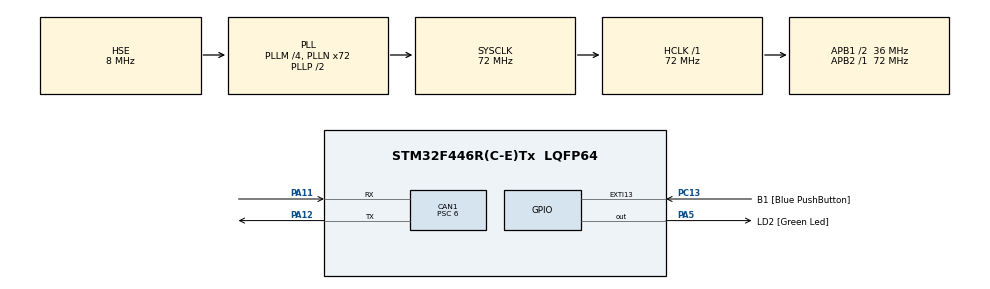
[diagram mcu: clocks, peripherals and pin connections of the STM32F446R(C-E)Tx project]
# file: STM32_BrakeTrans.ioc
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CAN1.ABOM=ENABLE
CAN1.BS1=CAN_BS1_9TQ
CAN1.BS2=CAN_BS2_2TQ
CAN1.CalculateBaudRate=499999
CAN1.CalculateTimeBit=2000
CAN1.CalculateTimeQuantum=166.66666666666669
CAN1.Mode=CAN_MODE_NORMAL
CAN1.NART=ENABLE
CAN1.Prescaler=6
CAN1.SJW=CAN_SJW_1TQ
Mcu.Family=STM32F4
Mcu.Name=STM32F446R(C-E)Tx
Mcu.Package=LQFP64
NVIC.CAN1_RX0_IRQn=true\:0\:0\:false\:false\:true\:true\:true\:true
NVIC.CAN1_RX1_IRQn=true\:0\:0\:false\:false\:true\:true\:true\:true
NVIC.PriorityGroup=NVIC_PRIORITYGROUP_0
PA11.GPIO_Speed=GPIO_SPEED_FREQ_MEDIUM
PA11.Mode=CAN_Activate
PA11.Signal=CAN1_RX
PA12.GPIO_Speed=GPIO_SPEED_FREQ_MEDIUM
PA12.Mode=CAN_Activate
PA12.Signal=CAN1_TX
PA13.GPIO_Label=TMS
PA13.Mode=Serial_Wire
PA13.Signal=SYS_JTMS-SWDIO
PA14.GPIO_Label=TCK
PA14.Mode=Serial_Wire
PA14.Signal=SYS_JTCK-SWCLK
PA2.GPIO_Label=USART_TX
PA2.Signal=USART2_TX
PA3.GPIO_Label=USART_RX
PA3.Signal=USART2_RX
PA5.GPIO_Label=LD2 [Green Led]
PA5.Signal=GPIO_Output
PB3.GPIO_Label=SWO
PB3.Signal=SYS_JTDO-SWO
PC13.GPIO_Label=B1 [Blue PushButton]
PC13.GPIO_ModeDefaultEXTI=GPIO_MODE_IT_FALLING
PC13.Signal=GPXTI13
PC14-OSC32_IN.Signal=RCC_OSC32_IN
PC15-OSC32_OUT.Signal=RCC_OSC32_OUT
PH0-OSC_IN.Mode=HSE-External-Oscillator
PH0-OSC_IN.Signal=RCC_OSC_IN
PH1-OSC_OUT.Mode=HSE-External-Oscillator
PH1-OSC_OUT.Signal=RCC_OSC_OUT
ProjectManager.HeapSize=0x200
ProjectManager.StackSize=0x400
ProjectManager.TargetToolchain=STM32CubeIDE
RCC.48MHZClocksFreq_Value=84000000
RCC.AHBFreq_Value=72000000
RCC.APB1CLKDivider=RCC_HCLK_DIV2
RCC.APB1Freq_Value=36000000
RCC.APB1TimFreq_Value=72000000
RCC.APB2Freq_Value=72000000
RCC.APB2TimFreq_Value=72000000
RCC.CortexFreq_Value=72000000
RCC.FLatency-AdvancedSettings=FLASH_LATENCY_2
RCC.HCLKFreq_Value=72000000
RCC.HSE_VALUE=8000000
RCC.HSI_VALUE=16000000
RCC.PLLM=4
RCC.PLLN=72
RCC.PLLSourceVirtual=RCC_PLLSOURCE_HSE
RCC.SYSCLKFreq_VALUE=72000000
RCC.SYSCLKSource=RCC_SYSCLKSOURCE_PLLCLK
RCC.USBFreq_Value=72000000
RCC.VCOOutputFreq_Value=144000000
board=NUCLEO-F446RE

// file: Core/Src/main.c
/* USER CODE BEGIN Header */
/**
  ******************************************************************************
  * @file           : main.c
  * @brief          : Main program body
  ******************************************************************************
  * @attention
  *
  * Copyright (c) 2025 STMicroelectronics.
  * All rights reserved.
  *
  * This software is licensed under terms that can be found in the LICENSE file
  * in the root directory of this software component.
  * If no LICENSE file comes with this software, it is provided AS-IS.
  *
  ******************************************************************************
  */
/* USER CODE END Header */
#include "main.h"

/* USER CODE BEGIN PD */
#define STM32_FAMILY_ID 0xF4					/* For STM32F4 Devices */
#define BOARD_ID		0x0						/* BOARD_ID: from 0 to 7: Device if two boards using STM32F4 need to select another value (1 to 7) */

#define TX_ID ((BOARD_ID<<8) | STM32_FAMILY_ID)	/* TX ID to send is a format of 0xXF4, where X is the baord ID */
/* USER CODE END PD */

CAN_HandleTypeDef hcan1;

/* USER CODE BEGIN PV */
uint32_t			TxMailbox;			/* The number of the mail box that trasmitted the Tx message */
CAN_TxHeaderTypeDef	TxHeader;
uint8_t				TxData[8] = {0};
CAN_RxHeaderTypeDef	RxHeaderFIFO0;		/* Header containing information of the received frame */
CAN_RxHeaderTypeDef RxHeaderFIFO1;
uint8_t				RxDataFIFO0[8];		/* Buffer of the received data */
uint8_t				RxDataFIFO1[8];
__IO uint32_t         rx_f0_std = 0;   /* Contains the number of standard frames received from a STM32F0 MCU */
__IO uint32_t         rx_f0_ext = 0;   /* Contains the number of extended frames received from a STM32F0 MCU */
__IO uint32_t         rx_f1_std = 0;   /* Contains the number of standard frames received from a STM32F1 MCU */
__IO uint32_t         rx_f1_ext = 0;   /* Contains the number of extended frames received from a STM32F1 MCU */
__IO uint32_t         rx_f2_std = 0;   /* Contains the number of standard frames received from a STM32F2 MCU */
__IO uint32_t         rx_f2_ext = 0;   /* Contains the number of extended frames received from a STM32F2 MCU */
__IO uint32_t         rx_f3_std = 0;   /* Contains the number of standard frames received from a STM32F3 MCU */
__IO uint32_t         rx_f3_ext = 0;   /* Contains the number of extended frames received from a STM32F3 MCU */
__IO uint32_t         rx_f7_std = 0;   /* Contains the number of standard frames received from a STM32F7 MCU */
__IO uint32_t         rx_f7_ext = 0;   /* Contains the number of extended frames received from a STM32F7 MCU */

BrakeTransTypeDef BrakeTrans;
/* @ Example code if there are two brakes
 * BrakeTransTypeDef FrontBrake;
 * BrakeTransTypeDef BackBrake;
 */
/* USER CODE END PV */

void SystemClock_Config(void);
static void MX_GPIO_Init(void);
static void MX_CAN1_Init(void);

int main(void)
{

  /* MCU Configuration--------------------------------------------------------*/

  /* Reset of all peripherals, Initializes the Flash interface and the Systick. */
  HAL_Init();

  /* Configure the system clock */
  SystemClock_Config();

  /* Initialize all configured peripherals */
  MX_GPIO_Init();
  MX_CAN1_Init();
  /* USER CODE BEGIN 2 */
  TxHeader.StdId = TX_ID;				/* The ID value in Standard ID format (11bit) */
  TxHeader.ExtId = TX_ID | 0x10000000;	/* The ID value in Extended ID format (29bit) */
  TxHeader.IDE = CAN_ID_STD;
  TxHeader.RTR = CAN_RTR_DATA;			/* The frames that will be sent are Data */
  TxHeader.DLC = 8;						/* The frames will contain 8 bytes */
  TxHeader.TransmitGlobalTime = DISABLE;
  /* Only the first byte (data0) and the last byte (data7) will be changed */
  TxData[0] = 0;
  TxData[7] = 0xFF;
  /* USER CODE END 2 */

  /* Infinite loop */
  /* USER CODE BEGIN WHILE */
  while (1)
  {
	TxData[0] ++;
	TxData[7] ++;

	/* Mandatory to look for a free Tx mail box */
	while(HAL_CAN_GetTxMailboxesFreeLevel(&hcan1) == 0) {} /* Waiting until a mailbox is free using while loop */

	if (HAL_CAN_AddTxMessage(&hcan1, &TxHeader, TxData, &TxMailbox) != HAL_OK) /* Send CAN Frame */
	{
		Error_Handler();
	}
	TxHeader.IDE ^= CAN_ID_EXT;
	HAL_Delay(1);
    /* USER CODE END WHILE */

  }
}

void SystemClock_Config(void)
{
  RCC_OscInitTypeDef RCC_OscInitStruct = {0};
  RCC_ClkInitTypeDef RCC_ClkInitStruct = {0};

  /** Configure the main internal regulator output voltage
  */
  __HAL_RCC_PWR_CLK_ENABLE();
  __HAL_PWR_VOLTAGESCALING_CONFIG(PWR_REGULATOR_VOLTAGE_SCALE3);

  /** Initializes the RCC Oscillators according to the specified parameters
  * in the RCC_OscInitTypeDef structure.
  */
  RCC_OscInitStruct.OscillatorType = RCC_OSCILLATORTYPE_HSE;
  RCC_OscInitStruct.HSEState = RCC_HSE_ON;
  RCC_OscInitStruct.PLL.PLLState = RCC_PLL_ON;
  RCC_OscInitStruct.PLL.PLLSource = RCC_PLLSOURCE_HSE;
  RCC_OscInitStruct.PLL.PLLM = 4;
  RCC_OscInitStruct.PLL.PLLN = 72;
  RCC_OscInitStruct.PLL.PLLP = RCC_PLLP_DIV2;
  RCC_OscInitStruct.PLL.PLLQ = 2;
  RCC_OscInitStruct.PLL.PLLR = 2;
  if (HAL_RCC_OscConfig(&RCC_OscInitStruct) != HAL_OK)

  {
    Error_Handler();
  }

  /** Initializes the CPU, AHB and APB buses clocks
  */
  RCC_ClkInitStruct.ClockType = RCC_CLOCKTYPE_HCLK|RCC_CLOCKTYPE_SYSCLK
                              |RCC_CLOCKTYPE_PCLK1|RCC_CLOCKTYPE_PCLK2;
  RCC_ClkInitStruct.SYSCLKSource = RCC_SYSCLKSOURCE_PLLCLK;
  RCC_ClkInitStruct.AHBCLKDivider = RCC_SYSCLK_DIV1;
  RCC_ClkInitStruct.APB1CLKDivider = RCC_HCLK_DIV2;
  RCC_ClkInitStruct.APB2CLKDivider = RCC_HCLK_DIV1;

  if (HAL_RCC_ClockConfig(&RCC_ClkInitStruct, FLASH_LATENCY_2) != HAL_OK)
  {
    Error_Handler();
  }
}

static void MX_CAN1_Init(void)
{

  /* USER CODE BEGIN CAN1_Init 0 */
  CAN_FilterTypeDef	sFilterConfig;
  /* USER CODE END CAN1_Init 0 */

  hcan1.Instance = CAN1;
  hcan1.Init.Prescaler = 6;
  hcan1.Init.Mode = CAN_MODE_NORMAL;
  hcan1.Init.SyncJumpWidth = CAN_SJW_1TQ;
  hcan1.Init.TimeSeg1 = CAN_BS1_9TQ;
  hcan1.Init.TimeSeg2 = CAN_BS2_2TQ;
  hcan1.Init.TimeTriggeredMode = DISABLE;
  hcan1.Init.AutoBusOff = ENABLE;
  hcan1.Init.AutoWakeUp = DISABLE;
  hcan1.Init.AutoRetransmission = ENABLE;
  hcan1.Init.ReceiveFifoLocked = DISABLE;
  hcan1.Init.TransmitFifoPriority = DISABLE;
  if (HAL_CAN_Init(&hcan1) != HAL_OK)
  {
    Error_Handler();
  }
  /* USER CODE BEGIN CAN1_Init 2 */
  /* Filter Configuration */
  sFilterConfig.SlaveStartFilterBank = 14;			/* Start slave bank. Set only once */
  /* CAN Filter Configuration */
  sFilterConfig.FilterBank = 0;							/* Filter Number 0 */
  sFilterConfig.FilterMode = CAN_FILTERMODE_IDMASK;		/* Using ID Mask Mode */
  sFilterConfig.FilterScale = CAN_FILTERSCALE_32BIT;	/* 32bit scale */
  sFilterConfig.FilterIdHigh = 0x0000;
  sFilterConfig.FilterIdLow = 0x0000;					/* Filter set for standard mode only */
  sFilterConfig.FilterMaskIdHigh = 0x0000;				/* Accepts all ids except Extended frames */
  sFilterConfig.FilterMaskIdLow = 0x0004;				/* Filter set to check only on the ID format */
  sFilterConfig.FilterFIFOAssignment = CAN_RX_FIFO0;	/* All messages will be accepted on FIFO0 */
  sFilterConfig.FilterActivation = ENABLE;
  if (HAL_CAN_ConfigFilter(&hcan1, &sFilterConfig) != HAL_OK)
  {
      /* Filter configuration Error */
      Error_Handler();
  }

  sFilterConfig.FilterBank = 1;							/* Filter Number 1 */
  sFilterConfig.FilterMode = CAN_FILTERMODE_IDMASK;		/* Using ID Mask Mode */
  sFilterConfig.FilterScale = CAN_FILTERSCALE_32BIT;	/* 32bit scale */
  sFilterConfig.FilterIdHigh = 0x0000;
  sFilterConfig.FilterIdLow = 0x0004;					/* Filter set for extended mode only */
  sFilterConfig.FilterMaskIdHigh = 0x0000;				/* Accepts all ids except Extended frames */
  sFilterConfig.FilterMaskIdLow = 0x0004;				/* Filter set to check only on the ID format */
  sFilterConfig.FilterFIFOAssignment = CAN_RX_FIFO1;	/* All messages will be accepted on FIFO1 */
  sFilterConfig.FilterActivation = ENABLE;
  if (HAL_CAN_ConfigFilter(&hcan1, &sFilterConfig) != HAL_OK)
  {
      /* Filter configuration Error */
      Error_Handler();
  }
  /* Start CAN peripheral */
  if (HAL_CAN_Start(&hcan1) != HAL_OK)
  {
    Error_Handler();
  }

  /* Activate CAN TX notifcations on FIFO0 and FIFO1 */
  if (HAL_CAN_ActivateNotification(&hcan1, CAN_IT_RX_FIFO0_MSG_PENDING | CAN_IT_RX_FIFO1_MSG_PENDING) != HAL_OK)
  {
	  /* Notification Error */
	  Error_Handler();
  }
  /* USER CODE END CAN1_Init 2 */

}

static void MX_GPIO_Init(void)
{
  GPIO_InitTypeDef GPIO_InitStruct = {0};

  /* GPIO Ports Clock Enable */
  __HAL_RCC_GPIOC_CLK_ENABLE();
  __HAL_RCC_GPIOH_CLK_ENABLE();
  __HAL_RCC_GPIOA_CLK_ENABLE();
  __HAL_RCC_GPIOB_CLK_ENABLE();

  /*Configure GPIO pin Output Level */
  HAL_GPIO_WritePin(LD2_GPIO_Port, LD2_Pin, GPIO_PIN_RESET);

  /*Configure GPIO pin : B1_Pin */
  GPIO_InitStruct.Pin = B1_Pin;
  GPIO_InitStruct.Mode = GPIO_MODE_IT_FALLING;
  GPIO_InitStruct.Pull = GPIO_NOPULL;
  HAL_GPIO_Init(B1_GPIO_Port, &GPIO_InitStruct);

  /*Configure GPIO pins : USART_TX_Pin USART_RX_Pin */
  GPIO_InitStruct.Pin = USART_TX_Pin|USART_RX_Pin;
  GPIO_InitStruct.Mode = GPIO_MODE_AF_PP;
  GPIO_InitStruct.Pull = GPIO_NOPULL;
  GPIO_InitStruct.Speed = GPIO_SPEED_FREQ_VERY_HIGH;
  GPIO_InitStruct.Alternate = GPIO_AF7_USART2;
  HAL_GPIO_Init(GPIOA, &GPIO_InitStruct);

  /*Configure GPIO pin : LD2_Pin */
  GPIO_InitStruct.Pin = LD2_Pin;
  GPIO_InitStruct.Mode = GPIO_MODE_OUTPUT_PP;
  GPIO_InitStruct.Pull = GPIO_NOPULL;
  GPIO_InitStruct.Speed = GPIO_SPEED_FREQ_LOW;
  HAL_GPIO_Init(LD2_GPIO_Port, &GPIO_InitStruct);

}

/* USER CODE BEGIN 4 */
void HAL_CAN_RxFifo0MsgPendingCallback(CAN_HandleTypeDef *CanHandle)
{
	if (HAL_CAN_GetRxMessage(CanHandle, CAN_RX_FIFO0, &RxHeaderFIFO0, RxDataFIFO0) != HAL_OK)
	{
		/* Reception Error */
		Error_Handler();
	}
	else
	{
		/* Toggle LED when message is received */
		HAL_GPIO_TogglePin(LD2_GPIO_Port, LD2_Pin);
	}

	if ((RxHeaderFIFO0.StdId & 0xFF) == 0xF0)
	{
		rx_f0_std++; /* Increment this if a standard CAN frame is received from the NUCLEO-F042 board */
	}
	else if ((RxHeaderFIFO0.StdId & 0xFF) == 0xF1)
	{
		rx_f1_std++; /* Increment this if a standard CAN frame is received from the NUCLEO-F103 board */
	}
	else if ((RxHeaderFIFO0.StdId & 0xFF) == 0xF2)
	{
		rx_f2_std++; /* Increment this if a standard CAN frame is received from the NUCLEO-F207 board */
	}
	else if ((RxHeaderFIFO0.StdId & 0xFF) == 0xF3)
	{
		rx_f3_std++; /* Increment this if a standard CAN frame is received from the NUCLEO-F302 board */
	}
	else if ((RxHeaderFIFO0.StdId & 0xFF) == 0xF7)
	{
		rx_f7_std++; /* Increment this if a standard CAN frame is received from the NUCLEO-F767 board */
	}
}

void HAL_CAN_RxFifo1MsgPendingCallback(CAN_HandleTypeDef *CanHandle)
{
	if (HAL_CAN_GetRxMessage(CanHandle, CAN_RX_FIFO1, &RxHeaderFIFO1, RxDataFIFO1) != HAL_OK)
	{
		/* Reception Error */
		Error_Handler();
	}
	else
	{
		/* Toggle LED when message is received */
		HAL_GPIO_TogglePin(LD2_GPIO_Port, LD2_Pin);
	}

	if ((RxHeaderFIFO1.ExtId & 0xFF) == 0xF0)
	{
		rx_f0_ext++; /* Increment this if a extended CAN frame is received from the NUCLEO-F042 board */
	}
	else if ((RxHeaderFIFO1.ExtId & 0xFF) == 0xF1)
	{
		rx_f1_ext++; /* Increment this if a extended CAN frame is received from the NUCLEO-F103 board */
	}
	else if ((RxHeaderFIFO1.ExtId & 0xFF) == 0xF2)
	{
		rx_f2_ext++; /* Increment this if a extended CAN frame is received from the NUCLEO-F207 board */
	}
	else if ((RxHeaderFIFO1.ExtId & 0xFF) == 0xF3)
	{
		rx_f3_ext++; /* Increment this if a extended CAN frame is received from the NUCLEO-F302 board */
	}
	else if ((RxHeaderFIFO1.ExtId & 0xFF) == 0xF7)
	{
		rx_f7_ext++; /* Increment this if a extended CAN frame is received from the NUCLEO-F767 board */
	}
}
/* USER CODE END 4 */

void Error_Handler(void)
{
  /* USER CODE BEGIN Error_Handler_Debug */
  /* User can add his own implementation to report the HAL error return state */
  __disable_irq();
  while (1)
  {
	  HAL_GPIO_TogglePin(LD2_GPIO_Port, LD2_Pin); /* Have this LED toggle on to notify of error (Only one LED available) */
	  for(__IO uint32_t i = 0; i < 0xFFFFF; i++);
  }
  /* USER CODE END Error_Handler_Debug */
}
